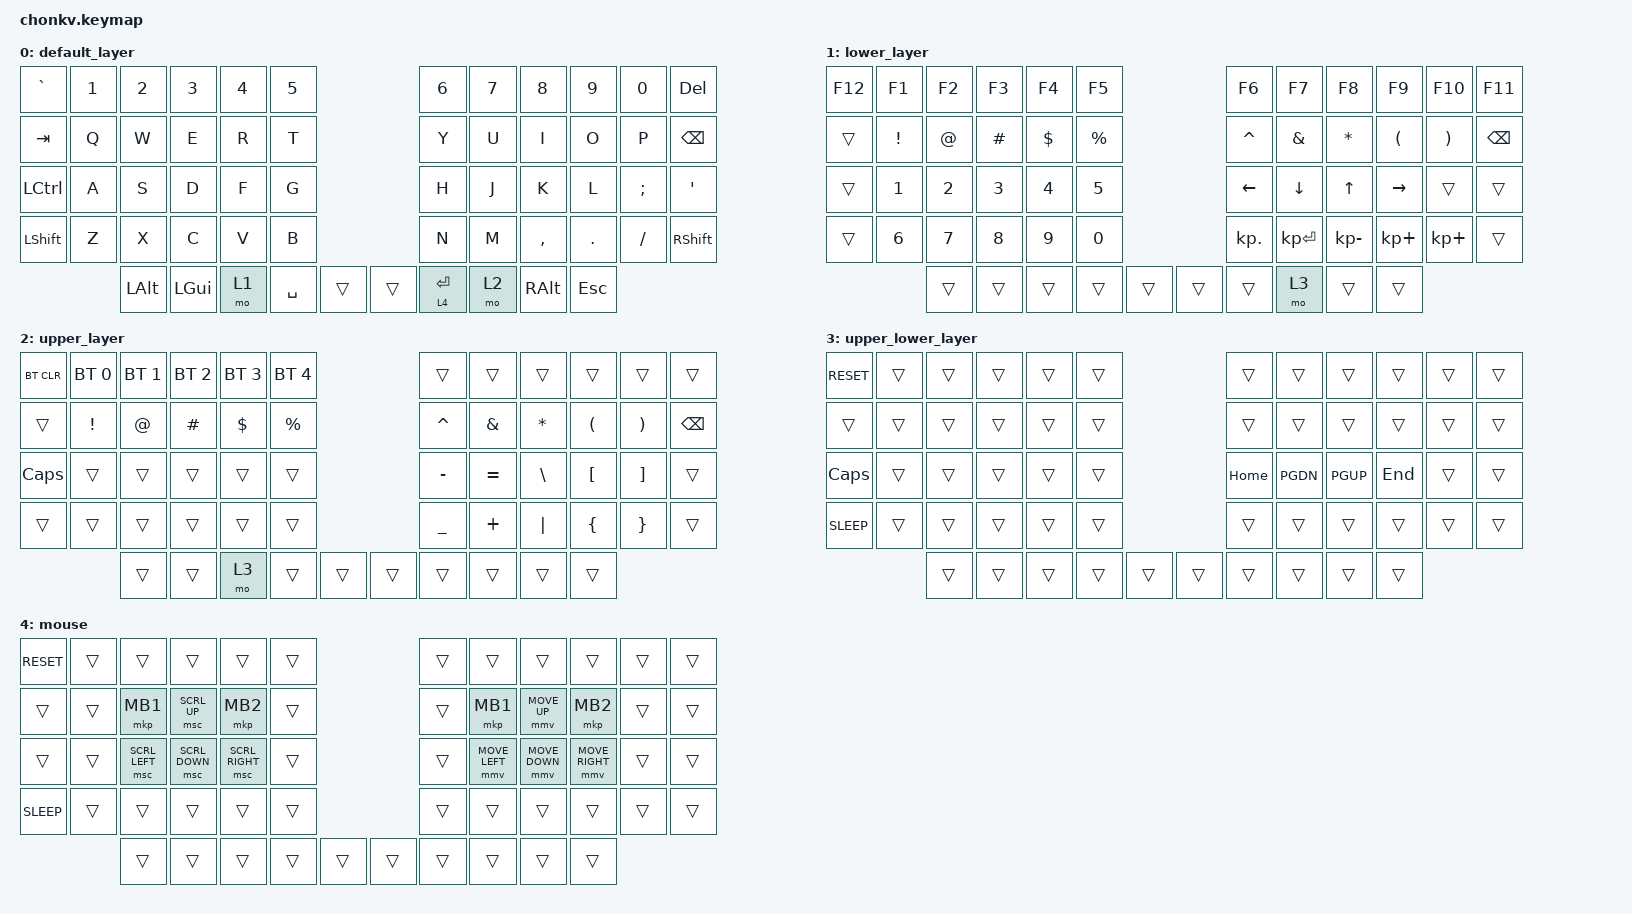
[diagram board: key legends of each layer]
#include <behaviors.dtsi>
#include <dt-bindings/zmk/keys.h>
#include <dt-bindings/zmk/bt.h>
#include <dt-bindings/zmk/pointing.h>

#define ZMK_POINTING_DEFAULT_MOVE_VAL 1200  // default: 600
#define ZMK_POINTING_DEFAULT_SCRL_VAL 17    // default: 10

/ {
    keymap {
        compatible = "zmk,keymap";

        default_layer {
          // ,-----------------------------------------.               ,-----------------------------------------.
          // |  `   |  1   |  2   |  3   |  4   |  5   |               |  6   |  7   |  8   |  9   |  0   |  Del |
          // |------+------+------+------+------+------|               |------+------+------+------+------+------|
          // | Tab  |  Q   |  W   |  E   |  R   |  T   |               |  Y   |  U   |  I   |  O   |  P   | BSPC |
          // |------+------+------+------+------+------|               |------+------+------+------+------+------|
          // | Ctrl  |  A   |  S   |  D   |  F   |  G   |               |  H   |  J   |  K   |  L   |  ;   |  '   |
          // |------+------+------+------+------+------+------. .------+------+------+------+------+------+------|
          // | Shift|  Z   |  X   |  C   |  V   |  B   |      | |      |  N   |  M   |  ,   |  .   |  /   | Shift|
          // `-------------+------+------+------+------|      | |      |------+------+------+------+------+------'
          //               | Alt  | Cmd  |Lower |Space |      | |      |Etr/l4 |Raise | Alt  | Esc |
          //               `----------------------------------' '----------------------------------'
          bindings = <
            &kp GRAVE &kp N1 &kp N2    &kp N3   &kp N4   &kp N5                   &kp N6 &kp N7   &kp N8    &kp N9    &kp N0   &kp DEL
            &kp TAB   &kp Q  &kp W     &kp E    &kp R    &kp T                    &kp Y  &kp U    &kp I     &kp O     &kp P    &kp BSPC
            &kp LCTRL   &kp A  &kp S     &kp D    &kp F    &kp G                    &kp H  &kp J    &kp K     &kp L     &kp SEMI &kp SQT
            &kp LSHFT &kp Z  &kp X     &kp C    &kp V    &kp B                    &kp N  &kp M    &kp COMMA &kp DOT   &kp FSLH &kp RSHFT
                            &kp LALT  &kp LGUI &mo 1 &kp SPACE  &trans &trans &lt 4 RET  &mo 2 &kp RALT  &kp ESC
          >;
        };

        lower_layer {
          // ,-----------------------------------------.               ,-----------------------------------------.
          // |  F12 |  F1  |  F2  |  F3  |  F4  |  F5  |               |  F6  |  F7  |  F8  |  F9  | F10  | F11  |
          // |------+------+------+------+------+------|               |------+------+------+------+------+------|
          // |      |  !   |  @   |  #   |  $   |  %   |               |  ^   |  &   |  *   |  (   |  )   | BSPC |
          // |------+------+------+------+------+------|               |------+------+------+------+------+------|
          // |      |  1   |  2   |  3   |  4   |  5   |               | Left | Down | Up   | Right|      |      |
          // |------+------+------+------+------+------+------. .------+------+------+------+------+------+------|
          // |      |  6   |  7   |  8   |  9   |  0   |      | |      |  {   |  }   |  |   |  _   |  +   |      |
          // `-------------+------+------+------+------|      | |      |------+------+------+------+------+------'
          //               |      |      |      |      |      | |      |      |Raise |      |      |
          //               `----------------------------------' '----------------------------------'
          bindings = <
            &kp F12 &kp F1    &kp F2    &kp F3      &kp F4   &kp F5                 &kp F6     &kp F7       &kp F8       &kp F9      &kp F10     &kp F11
            &trans &kp EXCL  &kp AT    &kp HASH    &kp DLLR &kp PRCNT              &kp CARET  &kp AMPS     &kp ASTRK    &kp LPAR    &kp RPAR    &kp BSPC
            &trans &kp N1    &kp N2    &kp N3      &kp N4   &kp N5                 &kp LEFT   &kp DOWN     &kp UP       &kp RIGHT   &trans      &trans
            &trans &kp N6    &kp N7    &kp N8      &kp N9   &kp N0                 &kp KP_DOT &kp KP_ENTER &kp KP_MINUS &kp KP_PLUS &kp KP_PLUS &trans
                             &trans    &trans      &trans   &trans   &trans &trans &trans     &mo 3       &trans       &trans
          >;
        };

        upper_layer {
          // ,-----------------------------------------.               ,-----------------------------------------.
          // |BT CLR| BT1  | BT2  | BT3  | BT4  | BT5  |               |      |      |      |      |      |      |
          // |------+------+------+------+------+------|               |------+------+------+------+------+------|
          // |      |  !   |  @   |  #   |  $   |  %   |               | ^    | &    | *    | (    | )    | BSPC |
          // |------+------+------+------+------+------|               |------+------+------+------+------+------|
          // |      |      |      |      |      |      |               | -    | =    | \    | [    | ]    |      |
          // |------+------+------+------+------+------+------. .------+------+------+------+------+------+------|
          // |      |      |      |      |      |      |      | |      | _    | +    | |    | {    | }    |      |
          // `-------------+------+------+------+------|      | |      |------+------+------+------+------+------'
          //               |      |      |Lower |      |      | |      |      |      |      |      |
          //               `----------------------------------' '----------------------------------'
          bindings = <
            &bt BT_CLR &bt BT_SEL 0 &bt BT_SEL 1 &bt BT_SEL 2 &bt BT_SEL 3 &bt BT_SEL 4               &trans    &trans   &trans   &trans    &trans &trans
            &trans     &kp EXCL     &kp AT      &kp HASH     &kp DLLR     &kp PRCNT                  &kp CARET &kp AMPS &kp ASTRK &kp LPAR  &kp RPAR &kp BSPC
            &kp CAPS     &trans       &trans       &trans       &trans       &trans                   &kp MINUS &kp EQUAL  &kp BSLH &kp LBKT &kp RBKT &trans
            &trans     &trans       &trans       &trans       &trans       &trans                     &kp UNDER &kp PLUS &kp PIPE  &kp LBRC &kp RBRC &trans
                                    &trans       &trans       &mo 3        &trans        &trans &trans &trans    &trans   &trans   &trans
          >;
        };

        upper_lower_layer {
          // ,-----------------------------------------.               ,-----------------------------------------.
          // | RESET|      |      |      |      |      |               |      |      |      |      |      |      |
          // |------+------+------+------+------+------|               |------+------+------+------+------+------|
          // |      |      |      |      |      |      |               |      |      |      |      |      |      |
          // |------+------+------+------+------+------|               |------+------+------+------+------+------|
          // | Caps |      |      |      |      |      |               | Home |PgDown| PgUp | End  |      |      |
          // |------+------+------+------+------+------+------. .------+------+------+------+------+------+------|
          // | Sleep|      |      |      |      |      |      | |      |      |      |      |      |      |      |
          // `-------------+------+------+------+------|      | |      |------+------+------+------+------+------'
          //               |      |      |      |      |      | |      |      |      |      |      |
          //               `----------------------------------' '----------------------------------'
          bindings = <
              &kp C_RESET &trans &trans &trans &trans &trans               &trans &trans       &trans     &trans    &trans &trans
              &trans      &trans &trans &trans &trans &trans               &trans &trans       &trans     &trans    &trans &trans
              &kp CAPS    &trans &trans &trans &trans &trans               &kp HOME &kp PGDN   &kp PGUP   &kp END   &trans &trans
              &kp K_SLEEP &trans &trans &trans &trans &trans               &trans &trans       &trans     &trans    &trans &trans
                                 &trans &trans &trans &trans &trans &trans &trans &trans       &trans     &trans
            >;
          };

        mouse {
          // ,-----------------------------------------.               ,-----------------------------------------.
          // | RESET|      |      |      |      |      |               |      |      |      |      |      |      |
          // |------+------+------+------+------+------|               |------+------+------+------+------+------|
          // |      |      | LCLK |  SUP | RCLK |      |               |      | LCLK |  mUP | RCLK |      |      |
          // |------+------+------+------+------+------|               |------+------+------+------+------+------|
          // | Caps |      |SLeft |SDOWN |SRight|      |               |      |MLeft | MDOWN|MRight|      |      |
          // |------+------+------+------+------+------+------. .------+------+------+------+------+------+------|
          // | Sleep|      |      |      |      |      |      | |      |      |      |      |      |      |      |
          // `-------------+------+------+------+------|      | |      |------+------+------+------+------+------'
          //               |      |      |      |      |      | |      |      |      |      |      |
          //               `----------------------------------' '----------------------------------'
          bindings = <
              &kp C_RESET &trans &trans         &trans         &trans          &trans               &trans &trans         &trans         &trans          &trans &trans
              &trans      &trans &mkp MB1       &msc SCRL_UP   &mkp MB2        &trans               &trans &mkp MB1       &mmv MOVE_UP   &mkp MB2        &trans &trans
              &trans      &trans &msc SCRL_LEFT &msc SCRL_DOWN &msc SCRL_RIGHT &trans               &trans &mmv MOVE_LEFT &mmv MOVE_DOWN &mmv MOVE_RIGHT &trans &trans
              &kp K_SLEEP &trans &trans         &trans         &trans          &trans               &trans &trans         &trans         &trans          &trans &trans
                                 &trans         &trans         &trans          &trans &trans &trans &trans &trans         &trans         &trans
            >;
          };
    };
};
